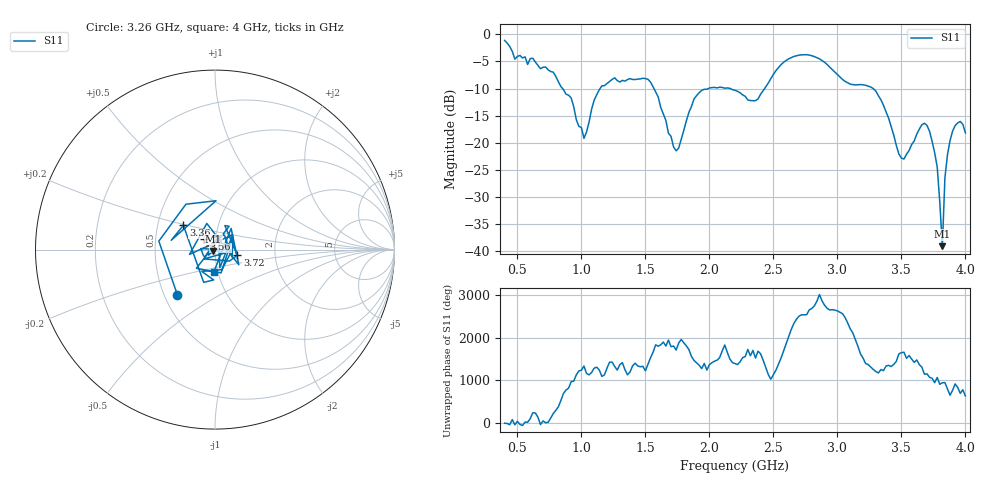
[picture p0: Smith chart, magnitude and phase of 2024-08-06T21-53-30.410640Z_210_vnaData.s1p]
!Created with skrf (http://scikit-rf.org).
# Hz S RI R 50.0
!freq ReS11 ImS11
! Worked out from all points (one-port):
!   181 points, 400 MHz to 4 GHz, reference 50 ohm
!   lowest |S11| = -39.0 dB at 3.82 GHz (marker M1), VSWR 1.02, Z = 49.1 - j0.679 ohm
!   |S11| at or under -10 dB: 853.3 MHz to 1.146 GHz (292.3 MHz wide, 29.2 % of centre); 1.567 GHz to 1.991 GHz (423.8 MHz wide, 23.8 % of centre); 3.28 GHz to end of sweep (the widest 3 of 4)
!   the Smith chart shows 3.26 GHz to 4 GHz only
!   S11 on the Smith chart (normalised r, x): 3.26 GHz: 0.58, -0.33; 3.36 GHz: 0.68, +0.19; 3.56 GHz: 0.88, +0.10; 3.72 GHz: 1.28, -0.08; 4 GHz: 0.96, -0.24
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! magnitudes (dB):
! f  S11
! 400 MHz  -1.1
! 480 MHz  -4.6
! 620 MHz  -4.4
! 860 MHz  -10.2
! 1.02 GHz  -19.2
! 1.14 GHz  -10.2
! 1.3 GHz  -8.8
! 1.54 GHz  -8.8
! 1.72 GHz  -20.7
! 1.76 GHz  -21.0
! 1.92 GHz  -10.8
! 2.2 GHz  -10.3
! 2.36 GHz  -12.2
! 2.66 GHz  -4.1
! 2.86 GHz  -4.5
! 3.1 GHz  -9.2
! 3.26 GHz  -9.7
! 3.36 GHz  -13.1
! 3.48 GHz  -22.0
! 3.56 GHz  -21.4
! 3.66 GHz  -16.7
! 3.72 GHz  -17.9
! 3.78 GHz  -24.5
! 3.82 GHz  -39.0
! 3.84 GHz  -26.4
! 3.88 GHz  -19.6
! 3.96 GHz  -16.1
! 4 GHz  -18.2
